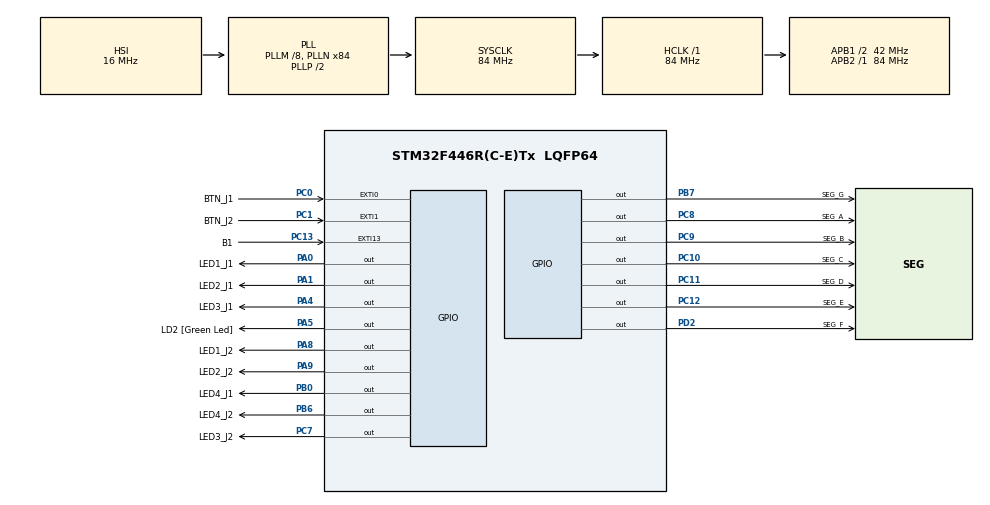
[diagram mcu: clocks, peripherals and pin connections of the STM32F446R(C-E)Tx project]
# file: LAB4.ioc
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Mcu.Family=STM32F4
Mcu.Name=STM32F446R(C-E)Tx
Mcu.Package=LQFP64
NVIC.EXTI0_IRQn=true\:0\:0\:false\:false\:true\:true\:true\:true
NVIC.EXTI15_10_IRQn=true\:0\:0\:false\:false\:true\:true\:true\:true
NVIC.EXTI1_IRQn=true\:0\:0\:false\:false\:true\:true\:true\:true
NVIC.PriorityGroup=NVIC_PRIORITYGROUP_0
PA0-WKUP.GPIO_Label=LED1_J1
PA0-WKUP.GPIO_PuPd=GPIO_NOPULL
PA0-WKUP.Signal=GPIO_Output
PA1.GPIO_Label=LED2_J1
PA1.Signal=GPIO_Output
PA13.GPIO_Label=TMS
PA13.Signal=SYS_JTMS-SWDIO
PA14.GPIO_Label=TCK
PA14.Signal=SYS_JTCK-SWCLK
PA2.GPIO_Label=USART_TX
PA2.Signal=USART2_TX
PA3.GPIO_Label=USART_RX
PA3.Signal=USART2_RX
PA4.GPIO_Label=LED3_J1
PA4.Signal=GPIO_Output
PA5.GPIO_Label=LD2 [Green Led]
PA5.GPIO_PuPd=GPIO_PULLUP
PA5.Signal=GPIO_Output
PA8.GPIO_Label=LED1_J2
PA8.Signal=GPIO_Output
PA9.GPIO_Label=LED2_J2
PA9.Signal=GPIO_Output
PB0.GPIO_Label=LED4_J1
PB0.Signal=GPIO_Output
PB3.GPIO_Label=SWO
PB3.Signal=SYS_JTDO-SWO
PB6.GPIO_Label=LED4_J2
PB6.Signal=GPIO_Output
PB7.GPIO_Label=SEG_G
PB7.Signal=GPIO_Output
PC0.GPIO_Label=BTN_J1
PC0.GPIO_ModeDefaultEXTI=GPIO_MODE_IT_FALLING
PC0.GPIO_PuPd=GPIO_PULLUP
PC0.Signal=GPXTI0
PC1.GPIO_Label=BTN_J2
PC1.GPIO_ModeDefaultEXTI=GPIO_MODE_IT_FALLING
PC1.GPIO_PuPd=GPIO_PULLUP
PC1.Signal=GPXTI1
PC10.GPIO_Label=SEG_C
PC10.Signal=GPIO_Output
PC11.GPIO_Label=SEG_D
PC11.Signal=GPIO_Output
PC12.GPIO_Label=SEG_E
PC12.Signal=GPIO_Output
PC13.GPIO_Label=B1
PC13.GPIO_ModeDefaultEXTI=GPIO_MODE_IT_FALLING
PC13.GPIO_PuPd=GPIO_PULLUP
PC13.Signal=GPXTI13
PC14-OSC32_IN.Signal=RCC_OSC32_IN
PC15-OSC32_OUT.Signal=RCC_OSC32_OUT
PC7.GPIO_Label=LED3_J2
PC7.Signal=GPIO_Output
PC8.GPIO_Label=SEG_A
PC8.GPIO_PuPd=GPIO_NOPULL
PC8.Signal=GPIO_Output
PC9.GPIO_Label=SEG_B
PC9.Signal=GPIO_Output
PD2.GPIO_Label=SEG_F
PD2.Signal=GPIO_Output
PH0-OSC_IN.Signal=RCC_OSC_IN
PH1-OSC_OUT.Signal=RCC_OSC_OUT
ProjectManager.HeapSize=0x200
ProjectManager.StackSize=0x400
ProjectManager.TargetToolchain=STM32CubeIDE
RCC.AHBFreq_Value=84000000
RCC.APB1CLKDivider=RCC_HCLK_DIV2
RCC.APB1Freq_Value=42000000
RCC.APB1TimFreq_Value=84000000
RCC.APB2Freq_Value=84000000
RCC.APB2TimFreq_Value=84000000
RCC.CortexFreq_Value=84000000
RCC.FLatency-AdvancedSettings=FLASH_LATENCY_2
RCC.HCLKFreq_Value=84000000
RCC.HSE_VALUE=8000000
RCC.HSI_VALUE=16000000
RCC.LSE_VALUE=32768
RCC.PLLM=8
RCC.PLLN=84
RCC.SYSCLKFreq_VALUE=84000000
RCC.SYSCLKSource=RCC_SYSCLKSOURCE_PLLCLK
RCC.USBFreq_Value=84000000
RCC.VCOOutputFreq_Value=168000000
board=NUCLEO-F446RE

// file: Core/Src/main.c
/* USER CODE BEGIN Header */
/**
  ******************************************************************************
  * @file           : main.c
  * @brief          : Main program body
  ******************************************************************************
  * @attention
  *
  * Copyright (c) 2026 STMicroelectronics.
  * All rights reserved.
  *
  * This software is licensed under terms that can be found in the LICENSE file
  * in the root directory of this software component.
  * If no LICENSE file comes with this software, it is provided AS-IS.
  *
  ******************************************************************************
  */
/* USER CODE END Header */
#include "main.h"

/* USER CODE BEGIN PV */
volatile uint8_t contador_J1 = 0;
volatile uint8_t contador_J2 = 0;

volatile uint32_t ultimo_tiempo_J1 = 0;
volatile uint32_t ultimo_tiempo_J2 = 0;
volatile uint32_t ultimo_tiempo_START = 0;

volatile uint8_t iniciar_carrera = 0;
volatile uint8_t carrera_activa = 0;
volatile uint8_t carrera_terminada = 0;

#define DEBOUNCE_TIME 50
/* USER CODE END PV */

void SystemClock_Config(void);
static void MX_GPIO_Init(void);
/* USER CODE BEGIN PFP */
void Mostrar_J1(uint8_t numero);
void Mostrar_J2(uint8_t numero);

void Ganador_J1(void);
void Ganador_J2(void);

void Apagar_Leds(void);

void Display_Numero(uint8_t numero);
void Display_Apagar(void);

void Cuenta_Regresiva(void);
/* USER CODE END PFP */

/* USER CODE BEGIN 0 */
/* ============================================================
   MOSTRAR POSICION JUGADOR 1
   ============================================================ */

void Mostrar_J1(uint8_t numero)
{
    /* Apagar todos los LEDs de J1 */
    HAL_GPIO_WritePin(GPIOA, GPIO_PIN_0, GPIO_PIN_RESET);
    HAL_GPIO_WritePin(GPIOA, GPIO_PIN_1, GPIO_PIN_RESET);
    HAL_GPIO_WritePin(GPIOA, GPIO_PIN_4, GPIO_PIN_RESET);
    HAL_GPIO_WritePin(GPIOB, GPIO_PIN_0, GPIO_PIN_RESET);

    switch(numero)
    {
        case 1:
            HAL_GPIO_WritePin(GPIOA, GPIO_PIN_0, GPIO_PIN_SET);
            break;

        case 2:
            HAL_GPIO_WritePin(GPIOA, GPIO_PIN_1, GPIO_PIN_SET);
            break;

        case 3:
            HAL_GPIO_WritePin(GPIOA, GPIO_PIN_4, GPIO_PIN_SET);
            break;

        case 4:
            HAL_GPIO_WritePin(GPIOB, GPIO_PIN_0, GPIO_PIN_SET);
            break;

        default:
            break;
    }
}

/* ============================================================
   MOSTRAR POSICION JUGADOR 2
   ============================================================ */

void Mostrar_J2(uint8_t numero)
{
    /* Apagar todos los LEDs de J2 */
    HAL_GPIO_WritePin(GPIOA, GPIO_PIN_8, GPIO_PIN_RESET);
    HAL_GPIO_WritePin(GPIOA, GPIO_PIN_9, GPIO_PIN_RESET);
    HAL_GPIO_WritePin(GPIOC, GPIO_PIN_7, GPIO_PIN_RESET);
    HAL_GPIO_WritePin(GPIOB, GPIO_PIN_6, GPIO_PIN_RESET);

    switch(numero)
    {
        case 1:
            HAL_GPIO_WritePin(GPIOA, GPIO_PIN_8, GPIO_PIN_SET);
            break;

        case 2:
            HAL_GPIO_WritePin(GPIOA, GPIO_PIN_9, GPIO_PIN_SET);
            break;

        case 3:
            HAL_GPIO_WritePin(GPIOC, GPIO_PIN_7, GPIO_PIN_SET);
            break;

        case 4:
            HAL_GPIO_WritePin(GPIOB, GPIO_PIN_6, GPIO_PIN_SET);
            break;

        default:
            break;
    }
}

/* ============================================================
   INSTRUCCION 8
   APAGAR TODOS LOS LEDS
   ============================================================ */

void Apagar_Leds(void)
{
    /* Jugador 1 */
    HAL_GPIO_WritePin(GPIOA, GPIO_PIN_0, GPIO_PIN_RESET);
    HAL_GPIO_WritePin(GPIOA, GPIO_PIN_1, GPIO_PIN_RESET);
    HAL_GPIO_WritePin(GPIOA, GPIO_PIN_4, GPIO_PIN_RESET);
    HAL_GPIO_WritePin(GPIOB, GPIO_PIN_0, GPIO_PIN_RESET);

    /* Jugador 2 */
    HAL_GPIO_WritePin(GPIOA, GPIO_PIN_8, GPIO_PIN_RESET);
    HAL_GPIO_WritePin(GPIOA, GPIO_PIN_9, GPIO_PIN_RESET);
    HAL_GPIO_WritePin(GPIOC, GPIO_PIN_7, GPIO_PIN_RESET);
    HAL_GPIO_WritePin(GPIOB, GPIO_PIN_6, GPIO_PIN_RESET);
}

/* ============================================================
   INSTRUCCION 9
   CONTROL DE LOS SEGMENTOS DEL DISPLAY
   ============================================================ */

void Display_Segmentos(uint8_t a,
                       uint8_t b,
                       uint8_t c,
                       uint8_t d,
                       uint8_t e,
                       uint8_t f,
                       uint8_t g)
{
    HAL_GPIO_WritePin(GPIOC, GPIO_PIN_8,
                      a ? GPIO_PIN_SET : GPIO_PIN_RESET);

    HAL_GPIO_WritePin(GPIOC, GPIO_PIN_9,
                      b ? GPIO_PIN_SET : GPIO_PIN_RESET);

    HAL_GPIO_WritePin(GPIOC, GPIO_PIN_10,
                      c ? GPIO_PIN_SET : GPIO_PIN_RESET);

    HAL_GPIO_WritePin(GPIOC, GPIO_PIN_11,
                      d ? GPIO_PIN_SET : GPIO_PIN_RESET);

    HAL_GPIO_WritePin(GPIOC, GPIO_PIN_12,
                      e ? GPIO_PIN_SET : GPIO_PIN_RESET);

    HAL_GPIO_WritePin(GPIOD, GPIO_PIN_2,
                      f ? GPIO_PIN_SET : GPIO_PIN_RESET);

    HAL_GPIO_WritePin(GPIOB, GPIO_PIN_7,
                      g ? GPIO_PIN_SET : GPIO_PIN_RESET);
}

/* ============================================================
   MOSTRAR NUMERO EN EL DISPLAY
   ============================================================ */

void Display_Numero(uint8_t numero)
{
    switch(numero)
    {
        case 0:
            Display_Segmentos(1,1,1,1,1,1,0);
            break;

        case 1:
            Display_Segmentos(0,1,1,0,0,0,0);
            break;

        case 2:
            Display_Segmentos(1,1,0,1,1,0,1);
            break;

        case 3:
            Display_Segmentos(1,1,1,1,0,0,1);
            break;

        case 4:
            Display_Segmentos(0,1,1,0,0,1,1);
            break;

        case 5:
            Display_Segmentos(1,0,1,1,0,1,1);
            break;

        default:
            Display_Segmentos(0,0,0,0,0,0,0);
            break;
    }
}

void Display_Apagar(void)
{
    Display_Segmentos(0,0,0,0,0,0,0);
}

/* ============================================================
   INSTRUCCION 10
   GANADOR JUGADOR 1
   ============================================================ */

void Ganador_J1(void)
{
    /* Encender todos los LEDs de J1 */
    HAL_GPIO_WritePin(GPIOA, GPIO_PIN_0, GPIO_PIN_SET);
    HAL_GPIO_WritePin(GPIOA, GPIO_PIN_1, GPIO_PIN_SET);
    HAL_GPIO_WritePin(GPIOA, GPIO_PIN_4, GPIO_PIN_SET);
    HAL_GPIO_WritePin(GPIOB, GPIO_PIN_0, GPIO_PIN_SET);

    /* Apagar todos los LEDs de J2 */
    HAL_GPIO_WritePin(GPIOA, GPIO_PIN_8, GPIO_PIN_RESET);
    HAL_GPIO_WritePin(GPIOA, GPIO_PIN_9, GPIO_PIN_RESET);
    HAL_GPIO_WritePin(GPIOC, GPIO_PIN_7, GPIO_PIN_RESET);
    HAL_GPIO_WritePin(GPIOB, GPIO_PIN_6, GPIO_PIN_RESET);

    /* Mostrar 1 en el display */
    Display_Numero(1);
}

/* ============================================================
   GANADOR JUGADOR 2
   ============================================================ */

void Ganador_J2(void)
{
    /* Apagar todos los LEDs de J1 */
    HAL_GPIO_WritePin(GPIOA, GPIO_PIN_0, GPIO_PIN_RESET);
    HAL_GPIO_WritePin(GPIOA, GPIO_PIN_1, GPIO_PIN_RESET);
    HAL_GPIO_WritePin(GPIOA, GPIO_PIN_4, GPIO_PIN_RESET);
    HAL_GPIO_WritePin(GPIOB, GPIO_PIN_0, GPIO_PIN_RESET);

    /* Encender todos los LEDs de J2 */
    HAL_GPIO_WritePin(GPIOA, GPIO_PIN_8, GPIO_PIN_SET);
    HAL_GPIO_WritePin(GPIOA, GPIO_PIN_9, GPIO_PIN_SET);
    HAL_GPIO_WritePin(GPIOC, GPIO_PIN_7, GPIO_PIN_SET);
    HAL_GPIO_WritePin(GPIOB, GPIO_PIN_6, GPIO_PIN_SET);

    /* Mostrar 2 en el display */
    Display_Numero(2);
}

/* ============================================================
   INSTRUCCION 11
   INTERRUPCIONES
   ============================================================ */

void HAL_GPIO_EXTI_Callback(uint16_t GPIO_Pin)
{
    uint32_t tiempo_actual = HAL_GetTick();

    /* --------------------------------------------------------
       BOTON START - BOTON AZUL DE LA NUCLEO
       -------------------------------------------------------- */

    if(GPIO_Pin == B1_Pin)
    {
        if((tiempo_actual - ultimo_tiempo_START) >= DEBOUNCE_TIME)
        {
            ultimo_tiempo_START = tiempo_actual;

            if(carrera_activa == 0)
            {
                iniciar_carrera = 1;
            }
        }

        return;
    }

    /* Si no estamos jugando, ignorar J1 y J2 */
    if(carrera_activa == 0 || carrera_terminada == 1)
    {
        return;
    }

    /* --------------------------------------------------------
       JUGADOR 1
       -------------------------------------------------------- */

    if(GPIO_Pin == GPIO_PIN_0)
    {
        if((tiempo_actual - ultimo_tiempo_J1) >= DEBOUNCE_TIME)
        {
            ultimo_tiempo_J1 = tiempo_actual;

            contador_J1++;

            if(contador_J1 >= 4)
            {
                contador_J1 = 4;

                carrera_activa = 0;
                carrera_terminada = 1;

                Ganador_J1();
            }
            else
            {
                Mostrar_J1(contador_J1);
            }
        }
    }

    /* --------------------------------------------------------
       JUGADOR 2
       -------------------------------------------------------- */

    if(GPIO_Pin == GPIO_PIN_1)
    {
        if((tiempo_actual - ultimo_tiempo_J2) >= DEBOUNCE_TIME)
        {
            ultimo_tiempo_J2 = tiempo_actual;

            contador_J2++;

            if(contador_J2 >= 4)
            {
                contador_J2 = 4;

                carrera_activa = 0;
                carrera_terminada = 1;

                Ganador_J2();
            }
            else
            {
                Mostrar_J2(contador_J2);
            }
        }
    }
}

/* ============================================================
   INSTRUCCION 12
   CUENTA REGRESIVA
   ============================================================ */

void Cuenta_Regresiva(void)
{
    /* Bloquear a los jugadores */
    carrera_activa = 0;
    carrera_terminada = 0;

    /* Reiniciar contadores */
    contador_J1 = 0;
    contador_J2 = 0;

    /* Apagar LEDs */
    Apagar_Leds();

    /* Cuenta regresiva */

    Display_Numero(5);
    HAL_Delay(1000);

    Display_Numero(4);
    HAL_Delay(1000);

    Display_Numero(3);
    HAL_Delay(1000);

    Display_Numero(2);
    HAL_Delay(1000);

    Display_Numero(1);
    HAL_Delay(1000);

    Display_Numero(0);
    HAL_Delay(1000);

    /* Apagar display */
    Display_Apagar();

    /*
     * Reiniciar tiempos del debounce para evitar
     * pulsaciones anteriores.
     */
    ultimo_tiempo_J1 = HAL_GetTick();
    ultimo_tiempo_J2 = HAL_GetTick();

    /* Habilitar carrera */
    carrera_activa = 1;
}

/* USER CODE END 0 */

int main(void)
{

  /* MCU Configuration--------------------------------------------------------*/

  /* Reset of all peripherals, Initializes the Flash interface and the Systick. */
  HAL_Init();

  /* Configure the system clock */
  SystemClock_Config();

  /* Initialize all configured peripherals */
  MX_GPIO_Init();
  /* USER CODE BEGIN 2 */
  Mostrar_J1(0);
  Mostrar_J2(0);
  Display_Apagar();

  carrera_activa = 0;
  carrera_terminada = 0;
  iniciar_carrera = 0;
  /* USER CODE END 2 */

  /* Infinite loop */
  /* USER CODE BEGIN WHILE */
  while (1)
  {
      if(iniciar_carrera)
      {
          iniciar_carrera = 0;

          Cuenta_Regresiva();
      }
    /* USER CODE END WHILE */

  }
}

void SystemClock_Config(void)
{
  RCC_OscInitTypeDef RCC_OscInitStruct = {0};
  RCC_ClkInitTypeDef RCC_ClkInitStruct = {0};

  /** Configure the main internal regulator output voltage
  */
  __HAL_RCC_PWR_CLK_ENABLE();
  __HAL_PWR_VOLTAGESCALING_CONFIG(PWR_REGULATOR_VOLTAGE_SCALE3);

  /** Initializes the RCC Oscillators according to the specified parameters
  * in the RCC_OscInitTypeDef structure.
  */
  RCC_OscInitStruct.OscillatorType = RCC_OSCILLATORTYPE_HSI;
  RCC_OscInitStruct.HSIState = RCC_HSI_ON;
  RCC_OscInitStruct.HSICalibrationValue = RCC_HSICALIBRATION_DEFAULT;
  RCC_OscInitStruct.PLL.PLLState = RCC_PLL_ON;
  RCC_OscInitStruct.PLL.PLLSource = RCC_PLLSOURCE_HSI;
  RCC_OscInitStruct.PLL.PLLM = 8;
  RCC_OscInitStruct.PLL.PLLN = 84;
  RCC_OscInitStruct.PLL.PLLP = RCC_PLLP_DIV2;
  RCC_OscInitStruct.PLL.PLLQ = 2;
  RCC_OscInitStruct.PLL.PLLR = 2;
  if (HAL_RCC_OscConfig(&RCC_OscInitStruct) != HAL_OK)
  {
    Error_Handler();
  }

  /** Initializes the CPU, AHB and APB buses clocks
  */
  RCC_ClkInitStruct.ClockType = RCC_CLOCKTYPE_HCLK|RCC_CLOCKTYPE_SYSCLK
                              |RCC_CLOCKTYPE_PCLK1|RCC_CLOCKTYPE_PCLK2;
  RCC_ClkInitStruct.SYSCLKSource = RCC_SYSCLKSOURCE_PLLCLK;
  RCC_ClkInitStruct.AHBCLKDivider = RCC_SYSCLK_DIV1;
  RCC_ClkInitStruct.APB1CLKDivider = RCC_HCLK_DIV2;
  RCC_ClkInitStruct.APB2CLKDivider = RCC_HCLK_DIV1;

  if (HAL_RCC_ClockConfig(&RCC_ClkInitStruct, FLASH_LATENCY_2) != HAL_OK)
  {
    Error_Handler();
  }
}

static void MX_GPIO_Init(void)
{
  GPIO_InitTypeDef GPIO_InitStruct = {0};

  /* GPIO Ports Clock Enable */
  __HAL_RCC_GPIOC_CLK_ENABLE();
  __HAL_RCC_GPIOH_CLK_ENABLE();
  __HAL_RCC_GPIOA_CLK_ENABLE();
  __HAL_RCC_GPIOB_CLK_ENABLE();
  __HAL_RCC_GPIOD_CLK_ENABLE();

  /*Configure GPIO pin Output Level */
  HAL_GPIO_WritePin(GPIOA, LED1_J1_Pin|LED2_J1_Pin|LED3_J1_Pin|LD2_Pin
                          |LED1_J2_Pin|LED2_J2_Pin, GPIO_PIN_RESET);

  /*Configure GPIO pin Output Level */
  HAL_GPIO_WritePin(GPIOB, LED4_J1_Pin|LED4_J2_Pin|SEG_G_Pin, GPIO_PIN_RESET);

  /*Configure GPIO pin Output Level */
  HAL_GPIO_WritePin(GPIOC, LED3_J2_Pin|SEG_A_Pin|SEG_B_Pin|SEG_C_Pin
                          |SEG_D_Pin|SEG_E_Pin, GPIO_PIN_RESET);

  /*Configure GPIO pin Output Level */
  HAL_GPIO_WritePin(SEG_F_GPIO_Port, SEG_F_Pin, GPIO_PIN_RESET);

  /*Configure GPIO pins : B1_Pin BTN_J1_Pin BTN_J2_Pin */
  GPIO_InitStruct.Pin = B1_Pin|BTN_J1_Pin|BTN_J2_Pin;
  GPIO_InitStruct.Mode = GPIO_MODE_IT_FALLING;
  GPIO_InitStruct.Pull = GPIO_PULLUP;
  HAL_GPIO_Init(GPIOC, &GPIO_InitStruct);

  /*Configure GPIO pins : LED1_J1_Pin LED2_J1_Pin LED3_J1_Pin LED1_J2_Pin
                           LED2_J2_Pin */
  GPIO_InitStruct.Pin = LED1_J1_Pin|LED2_J1_Pin|LED3_J1_Pin|LED1_J2_Pin
                          |LED2_J2_Pin;
  GPIO_InitStruct.Mode = GPIO_MODE_OUTPUT_PP;
  GPIO_InitStruct.Pull = GPIO_NOPULL;
  GPIO_InitStruct.Speed = GPIO_SPEED_FREQ_LOW;
  HAL_GPIO_Init(GPIOA, &GPIO_InitStruct);

  /*Configure GPIO pins : USART_TX_Pin USART_RX_Pin */
  GPIO_InitStruct.Pin = USART_TX_Pin|USART_RX_Pin;
  GPIO_InitStruct.Mode = GPIO_MODE_AF_PP;
  GPIO_InitStruct.Pull = GPIO_NOPULL;
  GPIO_InitStruct.Speed = GPIO_SPEED_FREQ_VERY_HIGH;
  GPIO_InitStruct.Alternate = GPIO_AF7_USART2;
  HAL_GPIO_Init(GPIOA, &GPIO_InitStruct);

  /*Configure GPIO pin : LD2_Pin */
  GPIO_InitStruct.Pin = LD2_Pin;
  GPIO_InitStruct.Mode = GPIO_MODE_OUTPUT_PP;
  GPIO_InitStruct.Pull = GPIO_PULLUP;
  GPIO_InitStruct.Speed = GPIO_SPEED_FREQ_LOW;
  HAL_GPIO_Init(LD2_GPIO_Port, &GPIO_InitStruct);

  /*Configure GPIO pins : LED4_J1_Pin LED4_J2_Pin SEG_G_Pin */
  GPIO_InitStruct.Pin = LED4_J1_Pin|LED4_J2_Pin|SEG_G_Pin;
  GPIO_InitStruct.Mode = GPIO_MODE_OUTPUT_PP;
  GPIO_InitStruct.Pull = GPIO_NOPULL;
  GPIO_InitStruct.Speed = GPIO_SPEED_FREQ_LOW;
  HAL_GPIO_Init(GPIOB, &GPIO_InitStruct);

  /*Configure GPIO pins : LED3_J2_Pin SEG_A_Pin SEG_B_Pin SEG_C_Pin
                           SEG_D_Pin SEG_E_Pin */
  GPIO_InitStruct.Pin = LED3_J2_Pin|SEG_A_Pin|SEG_B_Pin|SEG_C_Pin
                          |SEG_D_Pin|SEG_E_Pin;
  GPIO_InitStruct.Mode = GPIO_MODE_OUTPUT_PP;
  GPIO_InitStruct.Pull = GPIO_NOPULL;
  GPIO_InitStruct.Speed = GPIO_SPEED_FREQ_LOW;
  HAL_GPIO_Init(GPIOC, &GPIO_InitStruct);

  /*Configure GPIO pin : SEG_F_Pin */
  GPIO_InitStruct.Pin = SEG_F_Pin;
  GPIO_InitStruct.Mode = GPIO_MODE_OUTPUT_PP;
  GPIO_InitStruct.Pull = GPIO_NOPULL;
  GPIO_InitStruct.Speed = GPIO_SPEED_FREQ_LOW;
  HAL_GPIO_Init(SEG_F_GPIO_Port, &GPIO_InitStruct);

  /* EXTI interrupt init*/
  HAL_NVIC_SetPriority(EXTI0_IRQn, 0, 0);
  HAL_NVIC_EnableIRQ(EXTI0_IRQn);

  HAL_NVIC_SetPriority(EXTI1_IRQn, 0, 0);
  HAL_NVIC_EnableIRQ(EXTI1_IRQn);

  HAL_NVIC_SetPriority(EXTI15_10_IRQn, 0, 0);
  HAL_NVIC_EnableIRQ(EXTI15_10_IRQn);

}

void Error_Handler(void)
{
  __disable_irq();
  while (1)
  {
  }
}
